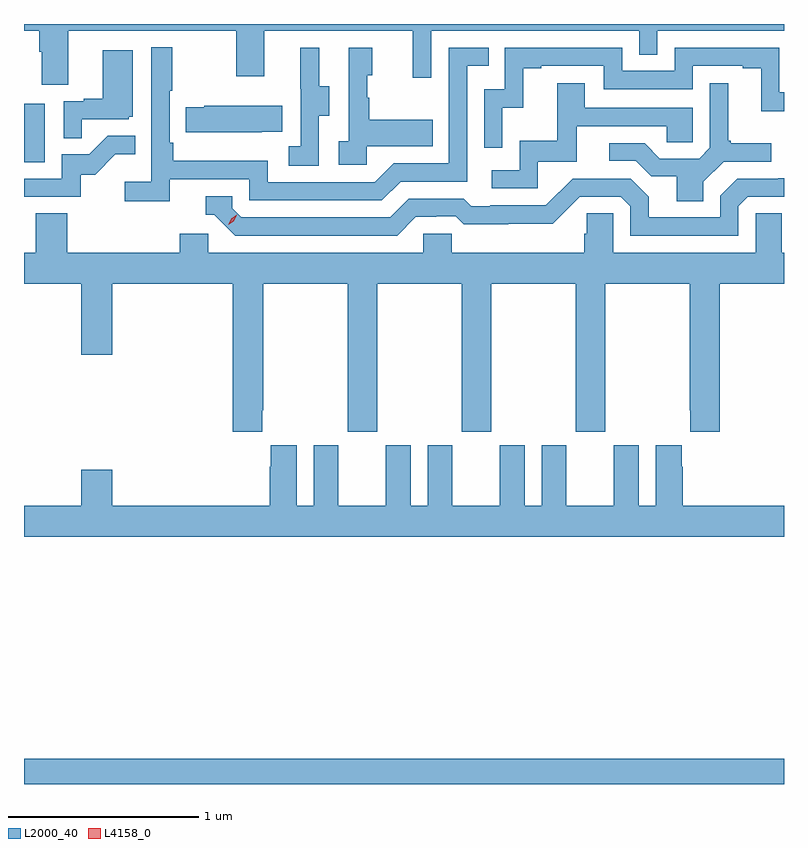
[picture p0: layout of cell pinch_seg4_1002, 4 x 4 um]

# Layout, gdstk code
import gdstk
lib = gdstk.Library(unit=1e-6, precision=1e-09)
def R(c, l, rs):  # rectangles x0, y0, x1, y1
    for r in rs: c.add(gdstk.rectangle(r[:2], r[2:], *l))
def P(c, l, *ps):  # polygons
    for p in ps: c.add(gdstk.Polygon(p, *l))
L2000_40 = (2000, 40)
L4158_0 = (4158, 0)

pinch_seg4_1002 = lib.new_cell('pinch_seg4_1002')
R(pinch_seg4_1002, L2000_40, [(824.048,780.867,828.048,781), (824.048,784.14,824.158,784.447)])
P(pinch_seg4_1002, L2000_40, [(824.281,784.832),(825.166,784.832),(825.166,784.593),(825.313,784.593),(825.313,784.832),(826.094,784.832),(826.094,784.584),(826.191,784.584),(826.191,784.832),(827.286,784.832),(827.286,784.705),(827.382,784.705),(827.382,784.832),(828.048,784.832),(828.048,784.867),(824.048,784.867),(824.048,784.832),(824.129,784.832),(824.129,784.72),(824.141,784.72),(824.141,784.546),(824.281,784.546)],
  [(824.816,784.05),(825.234,784.05),(825.234,783.939),(825.931,783.939),(826.03,784.038),(826.38,784.038),(826.38,784.647),(826.493,784.647),(826.493,784.743),(826.284,784.743),(826.284,784.134),(825.993,784.134),(825.894,784.035),(825.33,784.035),(825.33,784.147),(824.834,784.147),(824.834,784.243),(824.814,784.243),(824.814,784.516),(824.827,784.516),(824.827,784.744),(824.718,784.744),(824.718,784.036),(824.577,784.036),(824.577,783.934),(824.816,783.934)],
  [(826.566,784.427),(826.676,784.427),(826.676,784.635),(826.771,784.635),(826.771,784.647),(827.1,784.647),(827.1,784.524),(827.568,784.524),(827.568,784.647),(827.831,784.647),(827.831,784.635),(827.927,784.635),(827.927,784.409),(828.048,784.409),(828.048,784.507),(828.024,784.507),(828.024,784.743),(827.472,784.743),(827.472,784.62),(827.196,784.62),(827.196,784.743),(826.578,784.743),(826.578,784.524),(826.47,784.524),(826.47,784.215),(826.566,784.215)],
  [(825.6,784.384),(825.655,784.384),(825.655,784.539),(825.601,784.539),(825.601,784.741),(825.503,784.741),(825.503,784.527),(825.504,784.527),(825.504,784.223),(825.441,784.223),(825.441,784.12),(825.6,784.12)],
  [(825.852,784.223),(826.199,784.223),(826.199,784.363),(825.865,784.363),(825.865,784.478),(825.855,784.478),(825.855,784.596),(825.88,784.596),(825.88,784.741),(825.756,784.741),(825.756,784.25),(825.705,784.25),(825.705,784.125),(825.852,784.125)],
  [(824.351,784.365),(824.598,784.365),(824.598,784.38),(824.62,784.38),(824.62,784.729),(824.462,784.729),(824.462,784.474),(824.363,784.474),(824.363,784.461),(824.256,784.461),(824.256,784.267),(824.351,784.267)],
  [(827.623,784.036),(827.73,784.143),(827.98,784.143),(827.98,784.24),(827.767,784.24),(827.767,784.252),(827.755,784.252),(827.755,784.555),(827.658,784.555),(827.658,784.215),(827.601,784.158),(827.395,784.158),(827.314,784.239),(827.127,784.239),(827.127,784.146),(827.268,784.146),(827.348,784.066),(827.483,784.066),(827.483,783.934),(827.623,783.934)],
  [(826.752,784.143),(826.957,784.143),(826.957,784.329),(827.431,784.329),(827.431,784.245),(827.568,784.245),(827.568,784.425),(826.999,784.425),(826.999,784.555),(826.855,784.555),(826.855,784.252),(826.656,784.252),(826.656,784.098),(826.509,784.098),(826.509,784.002),(826.752,784.002)],
  [(825.299,784.301),(825.407,784.301),(825.407,784.438),(824.997,784.438),(824.997,784.428),(824.899,784.428),(824.899,784.298),(825.299,784.298)],
  [(824.346,784.074),(824.422,784.074),(824.529,784.181),(824.633,784.181),(824.633,784.28),(824.489,784.28),(824.391,784.182),(824.247,784.182),(824.247,784.053),(824.048,784.053),(824.048,783.957),(824.346,783.957)],
  [(826.111,783.852),(826.218,783.852),(826.218,783.855),(826.321,783.855),(826.363,783.813),(826.596,783.813),(826.596,783.815),(826.832,783.815),(826.974,783.957),(827.19,783.957),(827.238,783.909),(827.238,783.753),(827.808,783.753),(827.808,783.909),(827.856,783.957),(828.048,783.957),(828.048,784.055),(828.018,784.055),(828.018,784.053),(827.802,784.053),(827.712,783.963),(827.712,783.849),(827.335,783.849),(827.335,783.959),(827.241,784.053),(826.935,784.053),(826.794,783.912),(826.501,783.912),(826.501,783.909),(826.402,783.909),(826.363,783.948),(826.074,783.948),(825.975,783.849),(825.192,783.849),(825.144,783.897),(825.144,783.96),(825.005,783.96),(825.005,783.864),(825.048,783.864),(825.159,783.753),(826.012,783.753)],
  [(825.301,782.833),(825.306,782.833),(825.306,783.5),(825.751,783.5),(825.751,782.721),(825.906,782.721),(825.906,783.5),(826.351,783.5),(826.351,782.721),(826.506,782.721),(826.506,783.5),(826.951,783.5),(826.951,782.721),(827.106,782.721),(827.106,783.5),(827.551,783.5),(827.551,782.833),(827.555,782.833),(827.555,782.721),(827.711,782.721),(827.711,783.5),(828.048,783.5),(828.048,783.664),(828.037,783.664),(828.037,783.872),(827.898,783.872),(827.898,783.664),(827.148,783.664),(827.148,783.872),(827.011,783.872),(827.011,783.762),(826.997,783.762),(826.997,783.664),(826.299,783.664),(826.299,783.762),(826.149,783.762),(826.149,783.664),(825.018,783.664),(825.018,783.762),(824.867,783.762),(824.867,783.664),(824.276,783.664),(824.276,783.872),(824.111,783.872),(824.111,783.664),(824.048,783.664),(824.048,783.5),(824.348,783.5),(824.348,783.126),(824.512,783.126),(824.512,783.5),(825.146,783.5),(825.146,782.721),(825.301,782.721)],
  [(828.048,782.332),(827.516,782.332),(827.516,782.537),(827.509,782.537),(827.509,782.65),(827.372,782.65),(827.372,782.332),(827.284,782.332),(827.284,782.65),(827.153,782.65),(827.153,782.332),(826.903,782.332),(826.903,782.65),(826.772,782.65),(826.772,782.332),(826.684,782.332),(826.684,782.65),(826.553,782.65),(826.553,782.332),(826.303,782.332),(826.303,782.65),(826.172,782.65),(826.172,782.332),(826.084,782.332),(826.084,782.65),(825.953,782.65),(825.953,782.332),(825.703,782.332),(825.703,782.65),(825.572,782.65),(825.572,782.332),(825.484,782.332),(825.484,782.65),(825.347,782.65),(825.347,782.537),(825.341,782.537),(825.341,782.332),(824.512,782.332),(824.512,782.521),(824.348,782.521),(824.348,782.332),(824.048,782.332),(824.048,782.168),(828.048,782.168)])
P(pinch_seg4_1002, L4158_0, [(825.122,783.81),(825.122,783.81),(825.138,783.842),(825.169,783.862),(825.169,783.862),(825.169,783.861),(825.153,783.829),(825.122,783.81)])

lib.write_gds('pinch_seg4_1002.gds')
